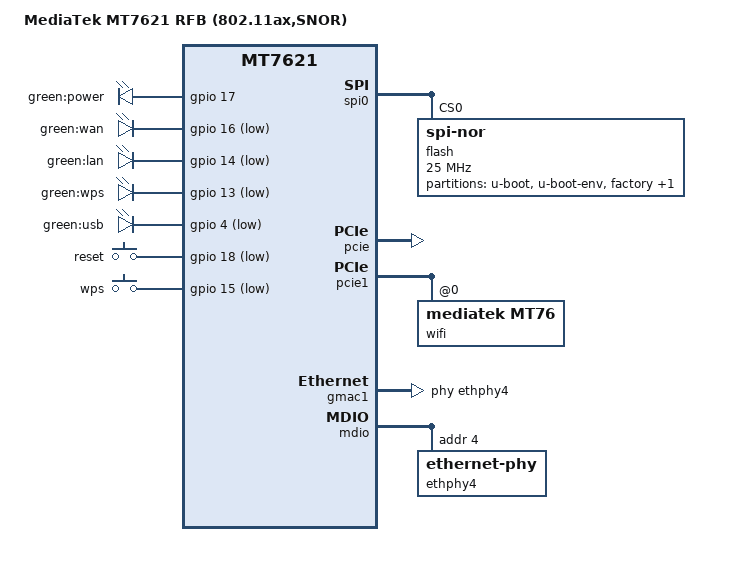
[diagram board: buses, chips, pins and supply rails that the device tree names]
// SPDX-License-Identifier: GPL-2.0-or-later OR MIT

#include "mt7621.dtsi"

#include <dt-bindings/gpio/gpio.h>
#include <dt-bindings/input/input.h>
#include <dt-bindings/leds/common.h>

/ {
	compatible = "mediatek,mt7621-rfb-nor", "mediatek,mt7621-soc";
	model = "MediaTek MT7621 RFB (802.11ax,SNOR)";

	aliases {
		led-boot = &led_power;
		led-failsafe = &led_power;
		led-running = &led_power;
		led-upgrade = &led_power;
	};

	chosen {
		bootargs = "console=ttyS0,115200";
		bootargs-override = "console=ttyS0,115200";
	};

	leds {
		compatible = "gpio-leds";

		led_power: power {
			label = "green:power";
			gpios = <&gpio 17 GPIO_ACTIVE_HIGH>;
		};

		wan {
			label = "green:wan";
			gpios = <&gpio 16 GPIO_ACTIVE_LOW>;
		};

		lan {
			label = "green:lan";
			gpios = <&gpio 14 GPIO_ACTIVE_LOW>;
		};

		wps {
			label = "green:wps";
			gpios = <&gpio 13 GPIO_ACTIVE_LOW>;
		};

		led_usb {
			label = "green:usb";
			gpios = <&gpio 4 GPIO_ACTIVE_LOW>;
			trigger-sources = <&ehci_port2>;
			linux,default-trigger = "usbport";
		};
	};

	keys {
		compatible = "gpio-keys";

		key-restart {
			label = "reset";
			gpios = <&gpio 18 GPIO_ACTIVE_LOW>;
			linux,code = <KEY_RESTART>;
		};

		key-wps {
			label = "wps";
			gpios = <&gpio 15 GPIO_ACTIVE_LOW>;
			linux,code = <KEY_WPS_BUTTON>;
		};
	};
};


&spi0 {
	status = "okay";

	flash@0 {
		compatible = "jedec,spi-nor";
		reg = <0>;
		spi-max-frequency = <25000000>;
		m25p,fast-read;

		partitions {
			compatible = "fixed-partitions";
			#address-cells = <1>;
			#size-cells = <1>;

			partition@0 {
				label = "u-boot";
				reg = <0x0 0x30000>;
			};

			partition@30000 {
				label = "u-boot-env";
				reg = <0x30000 0x10000>;
			};

			factory: partition@50000 {
				label = "factory";
				reg = <0x50000 0x40000>;

				nvmem-layout {
					compatible = "fixed-layout";
					#address-cells = <1>;
					#size-cells = <1>;

					eeprom_factory_0: eeprom@0 {
						reg = <0x0 0x400>;
					};

					macaddr_factory_4: macaddr@4 {
						reg = <0x4 0x6>;
					};
				};
			};

			partition@90000 {
				compatible = "denx,uimage";
				label = "firmware";
				reg = <0x90000 0xf70000>;
			};
		};
	};
};

&pcie {
	status = "okay";
};

&pcie1 {
	wifi@0,0 {
		compatible = "mediatek,mt76";
		reg = <0x0000 0 0 0 0>;
		mediatek,mtd-eeprom = <&factory 0x0000>;
		mediatek,disable-radar-background;
	};
};

&gmac0 {
	nvmem-cells = <&macaddr_factory_4>;
	nvmem-cell-names = "mac-address";
	mac-address-increment = <(-1)>;
};

&gmac1 {
	status = "okay";
	label = "wan";
	phy-handle = <&ethphy4>;

	nvmem-cells = <&macaddr_factory_4>;
	nvmem-cell-names = "mac-address";
};

&mdio {
	ethphy4: ethernet-phy@4 {
		reg = <4>;
	};
};

&switch0 {
	ports {
		port@0 {
			status = "okay";
			label = "lan4";
		};

		port@1 {
			status = "okay";
			label = "lan3";
		};

		port@2 {
			status = "okay";
			label = "lan2";
		};

		port@3 {
			status = "okay";
			label = "lan1";
		};
	};
};

&state_default {
	gpio {
		groups = "i2c", "uart2", "uart3", "jtag", "wdt";
		function = "gpio";
	};
};
